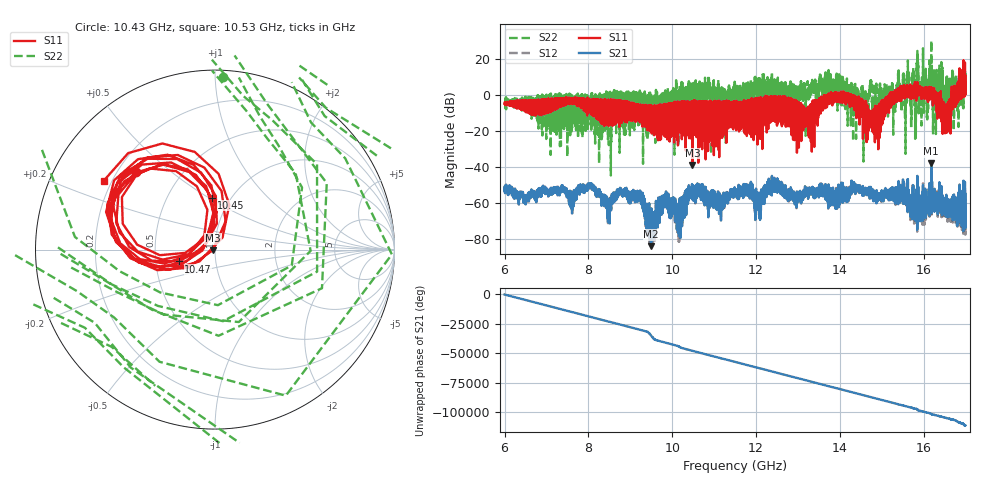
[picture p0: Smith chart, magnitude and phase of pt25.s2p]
#  HZ  S  RI  R  50.00
! Rohde & Schwarz Vector Network Analyzer
! Rohde-Schwarz,ZNA67-2Port,1332450062101215,3.01
! Created: UTC 10/27/2026, 1:26:30 PM
! freq[Hz]  re:S11  im:S11  re:S21  im:S21  re:S12  im:S12  re:S22  im:S22
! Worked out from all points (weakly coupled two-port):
!   11000 points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, 6 GHz to 17 GHz, reference 50 ohm
!   highest |S21| = -37.98 dB at 16.18 GHz (marker M1); lowest = -83.9 dB at 9.498 GHz (marker M2)
!   lowest |S11| = -38.8 dB at 10.48 GHz (marker M3), VSWR 1.02, Z = 48.9 - j0.281 ohm
!   |S11| at or under -10 dB: 14.7006 GHz to 14.71954 GHz (18.95 MHz wide, 0.129 % of centre); 14.7212 GHz to 14.74054 GHz (19.34 MHz wide, 0.131 % of centre); 14.77879 GHz to 14.80768 GHz (28.89 MHz wide, 0.195 % of centre) (the widest 3 of 571)
!   |S22| runs from -44.7 to 30.2 dB; largest |S21 - S12| = 0.0041
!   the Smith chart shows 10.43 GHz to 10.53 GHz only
!   S11 on the Smith chart (normalised r, x): 10.43 GHz: 0.27, +0.38; 10.45 GHz: 0.82, +0.52; 10.47 GHz: 0.66, -0.09; 10.53 GHz: 0.17, +0.28
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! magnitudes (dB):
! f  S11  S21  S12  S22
! 6 GHz  -5.0  -51.8  -51.7  -4.3
! 7.589 GHz  -4.4  -62.6  -63.1  -13.7
! 7.834 GHz  -4.7  -52.0  -52.0  -15.6
! 8.475 GHz  -2.8  -60.2  -60.3  -4.8
! 9.217 GHz  -5.9  -57.1  -57.5  0.2
! 9.498 GHz  -10.5  -83.9  -80.6  -0.4
! 9.667 GHz  -6.7  -64.1  -63.4  -7.4
! 10.15 GHz  -17.2  -67.0  -67.4  -4.2
! 10.43 GHz  -4.2  -53.5  -53.6  -0.3
! 10.45 GHz  -10.7  -53.7  -53.6  -4.2
! 10.47 GHz  -13.4  -55.0  -55.1  -1.6
! 10.48 GHz  -38.8  -51.2  -51.4  0.7
! 10.53 GHz  -2.7  -51.7  -51.6  3.3
! 11.5 GHz  -4.5  -54.7  -54.5  2.6
! 13.33 GHz  -31.4  -55.3  -55.8  4.9
! 14.08 GHz  -1.9  -50.9  -50.9  9.9
! 14.79 GHz  -13.1  -56.7  -56.6  -19.9
! 15.17 GHz  -3.9  -54.4  -54.8  -1.4
! 15.85 GHz  7.1  -44.9  -45.4  24.4
! 16.18 GHz  -1.0  -38.0  -38.5  30.2
! 16.56 GHz  -11.7  -64.9  -64.1  3.4
! 17 GHz  7.1  -61.9  -67.5  8.2
